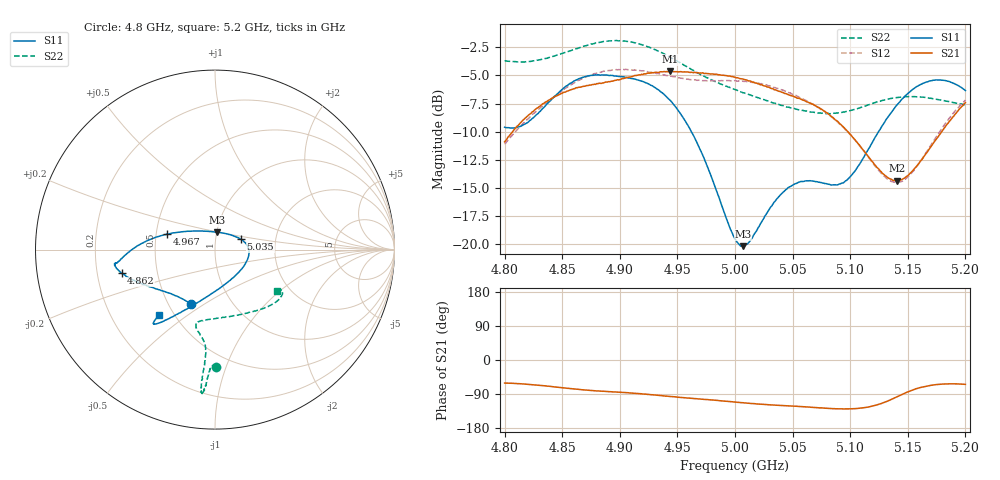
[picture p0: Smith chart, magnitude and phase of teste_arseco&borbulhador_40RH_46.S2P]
! Network Analyzer HP8722D
! Hewlett-Packard
! Data name: Linha & Wilkinson
! Saver's name: Rodrigo Anjos
! Comments: Teste da utilização de aquisição
! continua pelo VNA HP8722D
! Time and date: 15/4/2025 16:44
!  Frequency  S11  S21  S12  S22
# HZ  S  MA R 50
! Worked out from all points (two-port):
!   401 points, 4.8 GHz to 5.2 GHz, reference 50 ohm
!   highest |S21| = -4.62 dB at 4.944 GHz (marker M1); lowest = -14.4 dB at 5.141 GHz (marker M2)
!   |S21| within 3 dB of the highest: 4.832 GHz to 5.068 GHz (236.4 MHz wide, 4.77 % of centre); 5.198288 GHz to end of sweep
!   lowest |S11| = -20.2 dB at 5.007 GHz (marker M3), VSWR 1.22, Z = 50.4 + j9.83 ohm
!   |S11| at or under -10 dB: 4.962 GHz to 5.125 GHz (162.6 MHz wide, 3.22 % of centre)
!   |S22| runs from -8.4 to -1.9 dB; largest |S21 - S12| = 0.88
!   S11 on the Smith chart (normalised r, x): 4.8 GHz: 0.65, -0.44; 4.862 GHz: 0.31, -0.11; 4.967 GHz: 0.57, +0.11; 5.035 GHz: 1.32, +0.16; 5.2 GHz: 0.41, -0.39
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4.8e9  0.3306 -113.8  0.2844 -60.9  0.2777 -175.2  0.6535 -89.6
4.819e9  0.3449 -133.8  0.3669 -63.9  0.3554 -173.4  0.6487 -91.3
4.862e9  0.5366 -165.9  0.4962 -76.9  0.5269 -176.6  0.7395 -93.6
4.867e9  0.5495 -167.8  0.5006 -78.5  0.5432 -177.6  0.7535 -93.8
4.899e9  0.5563 -172.3  0.5372 -85.0  0.5973 175.6  0.8014 -95.2
4.934e9  0.4834 -178.2  0.58 -93.5  0.5724 171.9  0.7185 -95.7
4.944e9  0.4344 177.3  0.5874 -96.3  0.5579 171.9  0.676 -95.5
4.967e9  0.2821 162.2  0.5781 -102.3  0.5347 173.9  0.5797 -95.0
5e9  0.1052 106.2  0.5508 -111.0  0.5338 176.3  0.4864 -99.5
5.007e9  0.09755 82.3  0.542 -112.7  0.5301 176.3  0.4706 -100.9
5.013e9  0.1029 63.0  0.5318 -114.5  0.5259 176.1  0.4605 -102.3
5.035e9  0.1549 22.0  0.4854 -119.2  0.4963 175.1  0.4227 -104.0
5.05e9  0.1826 6.3  0.4556 -121.6  0.4634 174.2  0.4022 -100.2
5.067e9  0.1906 -12.1  0.4189 -124.8  0.4204 174.0  0.3862 -91.7
5.096e9  0.1907 -63.7  0.3234 -129.0  0.3213 174.2  0.3879 -69.2
5.106e9  0.2181 -83.8  0.2831 -127.8  0.2824 176.4  0.3992 -61.0
5.134e9  0.3749 -116.4  0.1951 -106.2  0.1916 -159.2  0.4426 -43.4
5.141e9  0.4176 -120.3  0.1911 -96.5  0.1877 -148.2  0.4485 -40.3
5.153e9  0.4817 -125.2  0.2083 -80.5  0.2057 -129.7  0.4523 -36.0
5.17e9  0.5323 -128.8  0.2697 -66.9  0.275 -112.9  0.4451 -32.2
5.184e9  0.5312 -130.1  0.3406 -63.2  0.3517 -107.3  0.4315 -31.2
5.2e9  0.4816 -130.6  0.4252 -64.2  0.4368 -106.2  0.4158 -33.6
